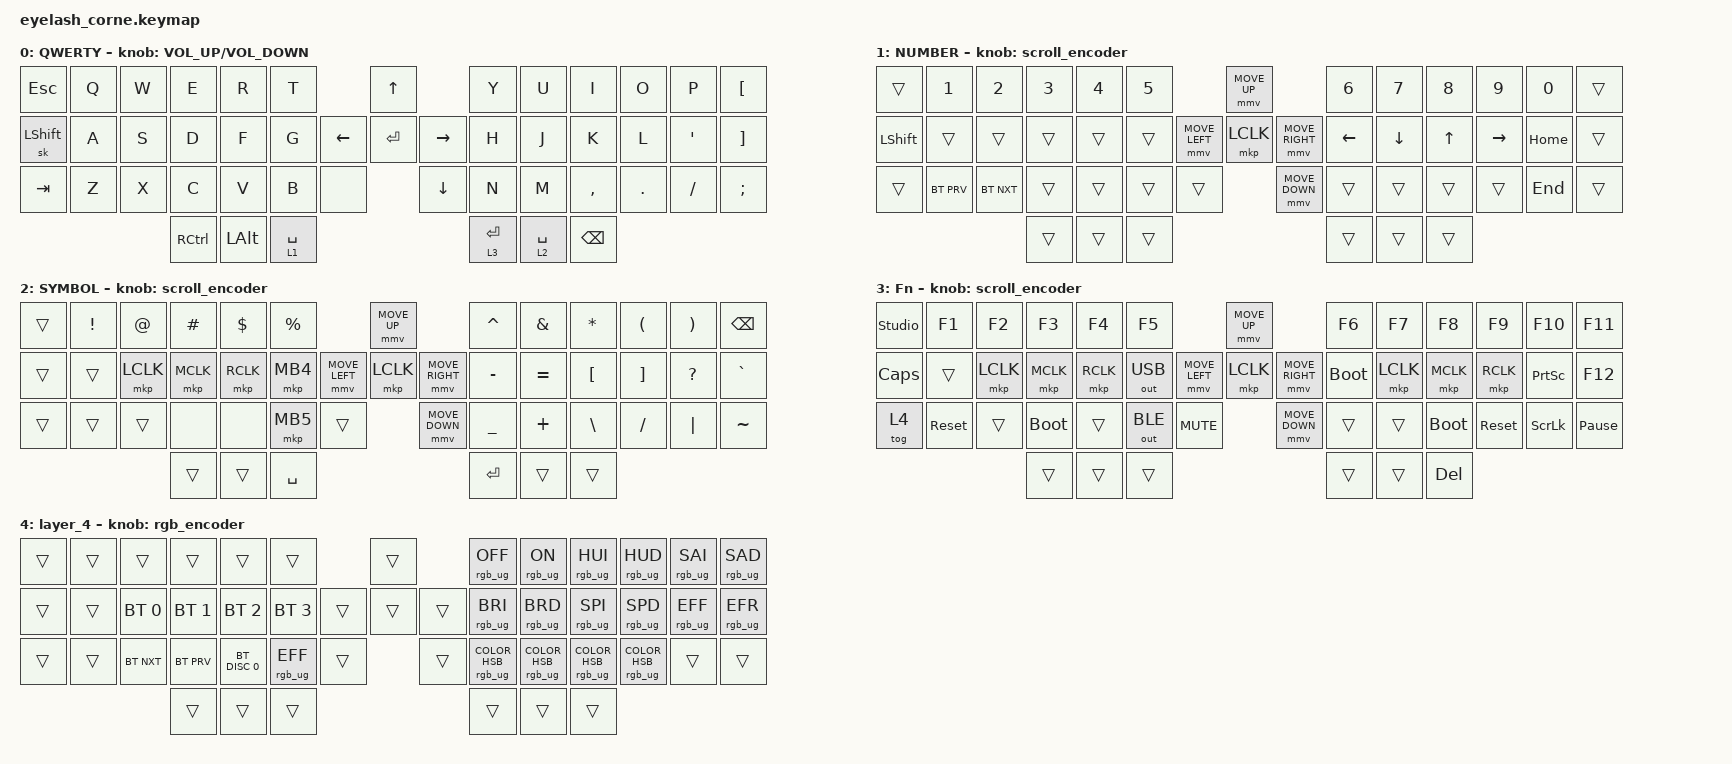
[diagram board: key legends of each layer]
#include <dt-bindings/zmk/mouse.h>
#include <input/processors.dtsi>
#include <behaviors.dtsi>
#include <dt-bindings/zmk/bt.h>
#include <dt-bindings/zmk/keys.h>
#include <dt-bindings/zmk/outputs.h>
#include <dt-bindings/zmk/pointing.h>
#include <dt-bindings/zmk/rgb.h>

/*

   &mmv_input_listener {
       input-processors = <&zip_xy_scaler 2 1>;
   };

   &msc_input_listener {
       input-processors = <&zip_xy_scaler 2 1>;
   };

 */

#define ZMK_MOUSE_DEFAULT_MOVE_VAL 1200  // 600
#define ZMK_MOUSE_DEFAULT_SCRL_VAL 20    // 10

/ {
    behaviors {
        td0: td0 {
            compatible = "zmk,behavior-tap-dance";
            display-name = "Shift/Caps Lock Tap Dance";
            #binding-cells = <0>;
            bindings = <&kp LEFT_SHIFT>, <&kp CAPS>;
        };
    };

    rgb_encoder: rgb_encoder {
        compatible = "zmk,behavior-sensor-rotate";
        #sensor-binding-cells = <0>;
        bindings = <&rgb_ug RGB_BRI>, <&rgb_ug RGB_BRD>;
    };

    scroll_encoder: scroll_encoder {
        compatible = "zmk,behavior-sensor-rotate";
        #sensor-binding-cells = <0>;
        bindings = <&msc SCRL_DOWN>, <&msc SCRL_UP>;

        tap-ms = <30>;
    };

    keymap {
        compatible = "zmk,keymap";

        default_layer {
            display-name = "QWERTY";
            bindings = <
&kp ESCAPE      &kp Q  &kp W  &kp E      &kp R         &kp T                           &kp UP                &kp Y        &kp U        &kp I          &kp O    &kp P      &kp LEFT_BRACKET
&sk LEFT_SHIFT  &kp A  &kp S  &kp D      &kp F         &kp G                 &kp LEFT  &kp ENTER  &kp RIGHT  &kp H        &kp J        &kp K          &kp L    &kp SQT    &kp RIGHT_BRACKET
&kp TAB         &kp Z  &kp X  &kp C      &kp V         &kp B        &none              &kp DOWN              &kp N        &kp M        &kp COMMA      &kp DOT  &kp SLASH  &kp SEMICOLON
                              &kp RCTRL  &kp LEFT_ALT  &lt 1 SPACE                                           &lt 3 ENTER  &lt 2 SPACE  &kp BACKSPACE
            >;

            sensor-bindings = <&inc_dec_kp C_VOLUME_UP C_VOLUME_DOWN>;
        };

        lower_layer {
            display-name = "NUMBER";
            bindings = <
&trans          &kp NUMBER_1  &kp NUMBER_2  &kp NUMBER_3  &kp NUMBER_4  &kp N5                            &mmv MOVE_UP                     &kp NUMBER_6  &kp N7    &kp N8  &kp N9     &kp N0    &trans
&kp LEFT_SHIFT  &trans        &trans        &trans        &trans        &trans            &mmv MOVE_LEFT  &mkp LCLK       &mmv MOVE_RIGHT  &kp LEFT      &kp DOWN  &kp UP  &kp RIGHT  &kp HOME  &trans
&trans          &bt BT_PRV    &bt BT_NXT    &trans        &trans        &trans  &trans                    &mmv MOVE_DOWN                   &trans        &trans    &trans  &trans     &kp END   &trans
                                            &trans        &trans        &trans                                                             &trans        &trans    &trans
            >;

            sensor-bindings = <&scroll_encoder>;
        };

        raise_layer {
            display-name = "SYMBOL";
            bindings = <
&trans  &kp EXCL  &kp AT     &kp HASH   &kp DLLR   &kp PRCNT                            &mmv MOVE_UP                     &kp CARET  &kp AMPS   &kp ASTRK      &kp LPAR   &kp RPAR      &kp BSPC
&trans  &trans    &mkp LCLK  &mkp MCLK  &mkp RCLK  &mkp MB4             &mmv MOVE_LEFT  &mkp LCLK       &mmv MOVE_RIGHT  &kp MINUS  &kp EQUAL  &kp LBKT       &kp RBKT   &kp QUESTION  &kp GRAVE
&trans  &trans    &trans     &none      &none      &mkp MB5   &trans                    &mmv MOVE_DOWN                   &kp UNDER  &kp PLUS   &kp BACKSLASH  &kp SLASH  &kp PIPE      &kp TILDE
                             &trans     &trans     &kp SPACE                                                             &kp RET    &trans     &trans
            >;

            sensor-bindings = <&scroll_encoder>;
        };

        layer_3 {
            display-name = "Fn";
            bindings = <
&studio_unlock  &kp F1      &kp F2     &kp F3       &kp F4     &kp F5                                      &mmv MOVE_UP                     &kp F6       &kp F7     &kp F8       &kp F9      &kp F10          &kp F11
&kp CLCK        &trans      &mkp LCLK  &mkp MCLK    &mkp RCLK  &out OUT_USB                &mmv MOVE_LEFT  &mkp LCLK       &mmv MOVE_RIGHT  &bootloader  &mkp LCLK  &mkp MCLK    &mkp RCLK   &kp PRINTSCREEN  &kp F12
&tog 4          &sys_reset  &trans     &bootloader  &trans     &out OUT_BLE  &kp C_MUTE                    &mmv MOVE_DOWN                   &trans       &trans     &bootloader  &sys_reset  &kp SCROLLLOCK   &kp PAUSE_BREAK
                                       &trans       &trans     &trans                                                                       &trans       &trans     &kp DEL
            >;

            sensor-bindings = <&scroll_encoder>;
        };

        layer_4 {
            bindings = <
&trans  &trans  &trans        &trans        &trans         &trans                             &trans          &rgb_ug RGB_OFF                 &rgb_ug RGB_ON                    &rgb_ug RGB_HUI                    &rgb_ug RGB_HUD                    &rgb_ug RGB_SAI  &rgb_ug RGB_SAD
&trans  &trans  &bt BT_SEL 0  &bt BT_SEL 1  &bt BT_SEL 2   &bt BT_SEL 3               &trans  &trans  &trans  &rgb_ug RGB_BRI                 &rgb_ug RGB_BRD                   &rgb_ug RGB_SPI                    &rgb_ug RGB_SPD                    &rgb_ug RGB_EFF  &rgb_ug RGB_EFR
&trans  &trans  &bt BT_NXT    &bt BT_PRV    &bt BT_DISC 0  &rgb_ug RGB_EFF  &trans            &trans          &rgb_ug RGB_COLOR_HSB(0,0,100)  &rgb_ug RGB_COLOR_HSB(117,89,81)  &rgb_ug RGB_COLOR_HSB(180,100,72)  &rgb_ug RGB_COLOR_HSB(271,100,80)  &trans           &trans
                              &trans        &trans         &trans                                             &trans                          &trans                            &trans
            >;

            sensor-bindings = <&rgb_encoder>;
        };
    };
};
